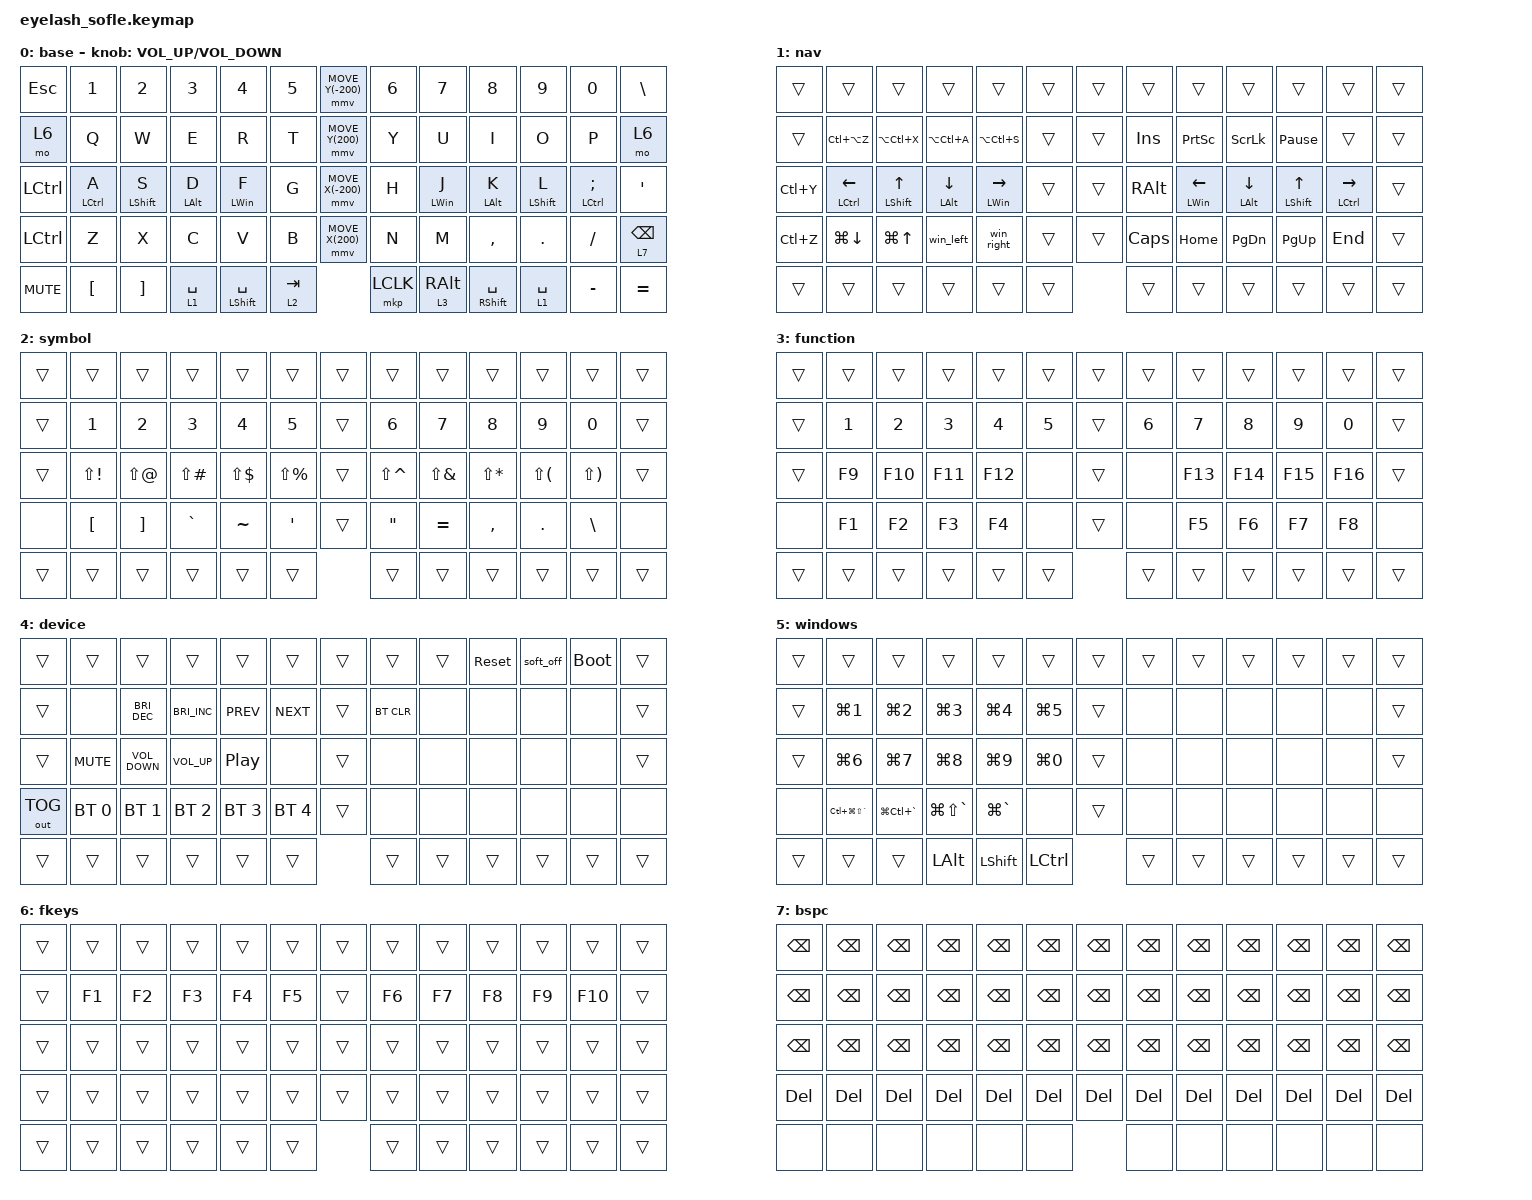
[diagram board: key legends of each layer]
#define ZMK_POINTING_DEFAULT_MOVE_VAL 1200  // 600
#define ZMK_POINTING_DEFAULT_SCRL_VAL 35    // 10

#include <input/processors.dtsi>
#include <zephyr/dt-bindings/input/input-event-codes.h>
#include <behaviors.dtsi>
#include <dt-bindings/zmk/bt.h>
#include <dt-bindings/zmk/keys.h>
#include <dt-bindings/zmk/outputs.h>
#include <dt-bindings/zmk/pointing.h>
#include <dt-bindings/zmk/rgb.h>

// ---------------------------------------------------------------------------
// eyelash sofle (64 keys) — cornix/totem layout ported.
//
// Matrix position map (binding order):
//   r0 (num):   0   1   2   3   4   5   [6]    7   8   9  10  11  12
//   r1 (qwer): 13  14  15  16  17  18  [19]   20  21  22  23  24  25
//   r2 (home): 26  27  28  29  30  31  [32]   33  34  35  36  37  38
//   r3 (bot):  39  40  41  42  43  44  [45]   46  47  48  49  50  51
//   r4 (thmb): 52  53  54  55  56  57  [58]   59  60  61  62  63
//   [6 19 32 45] = joystick axes, [58] = joystick click, 52 = encoder press.
//   Left outer col: 0 13 26 39 ; right outer col: 12 25 38 51.
// ---------------------------------------------------------------------------

/ {
    zip_scroll_scaler: zip_scroll_scaler {
        compatible = "zmk,input-processor-scaler";
        #input-processor-cells = <2>;
        type = <INPUT_EV_REL>;
        codes = <INPUT_REL_WHEEL INPUT_REL_HWHEEL>;
        track-remainders;
    };
};

&mmv_input_listener { input-processors = <&zip_xy_scaler 2 1>; };

&msc_input_listener { input-processors = <&zip_scroll_scaler 2 1>; };

&msc {
    time-to-max-speed-ms = <0>;       // 300
    delay-ms = <0>;                   // 0
    trigger-period-ms = <0>;
};

&mmv {
    time-to-max-speed-ms = <0>; // Default 500
    acceleration-exponent = <0>; // Default 0
    trigger-period-ms = <16>;
};

&soft_off { hold-time-ms = <2000>; };

/ {
    quick_tab: quick_tab {
        compatible = "zmk,behavior-hold-tap";
        label = "QUICK_TAB";
        bindings = <&kp>, <&kp>;

        #binding-cells = <2>;
        tapping-term-ms = <200>;
        flavor = "tap-preferred";
        quick-tap-ms = <250>;
    };

    quick_tab_retro: quick_tab_retro {
        compatible = "zmk,behavior-hold-tap";
        label = "QUICK_TAB_RETRO";
        bindings = <&kp>, <&kp>;

        #binding-cells = <2>;
        tapping-term-ms = <200>;
        flavor = "tap-preferred";
        quick-tap-ms = <150>;
        retro-tap;
    };

    layer_quick_tab: layer_quick_tab {
        compatible = "zmk,behavior-hold-tap";
        label = "LAYER_QUICK_TAB";
        bindings = <&mo>, <&kp>;

        #binding-cells = <2>;
        tapping-term-ms = <150>;
        flavor = "balanced";
        retro-tap;
    };

    space_shift_homerow: space_shift_homerow {
        compatible = "zmk,behavior-hold-tap";
        label = "SPACE_SHIFT_HOMEROW";
        bindings = <&kp>, <&kp>;

        #binding-cells = <2>;
        flavor = "tap-preferred";
        tapping-term-ms = <150>;
        retro-tap;
    };

    mouse_click_key: mouse_click_key {
        compatible = "zmk,behavior-hold-tap";
        label = "MOUSE_CLICK_KEY";
        bindings = <&mkp>, <&mkp>;

        #binding-cells = <2>;
        tapping-term-ms = <150>;
    };

    mouse_click_tab_dance: mouse_click_tab_dance {
        compatible = "zmk,behavior-tap-dance";
        label = "MOUSE_CLICK_TAB_DANCE";
        #binding-cells = <0>;
        bindings = <&mkp LCLK>, <&mouse_click_key RCLK LCLK>;
    };

    layer_hold_tap: layer_hold_tap {
        compatible = "zmk,behavior-hold-tap";
        label = "LAYER_HOLD_TAP";
        bindings = <&mo>, <&tog>;

        #binding-cells = <2>;
        tapping-term-ms = <200>;
    };

    // pos 12: tap = backspace; hold = momentary BSPCL layer.
    bspc_ht: bspc_ht {
        compatible = "zmk,behavior-hold-tap";
        label = "BSPC_HT";
        bindings = <&mo>, <&kp>;

        #binding-cells = <2>;
        flavor = "balanced";
        tapping-term-ms = <200>;
        retro-tap;
    };

    behaviors {
    };

    combos {
        compatible = "zmk,combos";

        backspace_combo {
            bindings = <&kp BACKSPACE>;
            key-positions = <34 35>;
            layers = <0 2 3>;
            timeout-ms = <38>;
        };

        enter_combo {
            bindings = <&kp ENTER>;
            key-positions = <34 36>;
            layers = <0 2 3>;
            timeout-ms = <38>;
        };

        backspace2_combo {
            bindings = <&kp BACKSPACE>;
            key-positions = <30 29>;
            layers = <0 3 2>;
            timeout-ms = <38>;
        };

        enter2_combo {
            bindings = <&kp ENTER>;
            key-positions = <30 28>;
            layers = <0 3 2>;
            timeout-ms = <38>;
        };

        esc_combo {
            bindings = <&kp ESC>;
            key-positions = <16 15>;
            layers = <0 3>;
            timeout-ms = <38>;
        };

        delete_combo {
            bindings = <&kp DEL>;
            key-positions = <47 48>;
            timeout-ms = <38>;
            layers = <0 2 3>;
        };

        delete_combo2 {
            bindings = <&kp DEL>;
            key-positions = <43 42>;
            timeout-ms = <38>;
            layers = <0 3 2>;
        };

        win_e_combo {
            bindings = <&kp LG(E)>;
            key-positions = <16 15>;
            layers = <1>;
        };

        win_r_combo {
            bindings = <&kp LG(R)>;
            key-positions = <17 16>;
            layers = <1>;
        };

        win_shift_t_combo {
            bindings = <&kp LG(LS(T))>;
            key-positions = <17 18>;
            layers = <1>;
        };

        win_shift_s_combo {
            bindings = <&kp LG(LS(S))>;
            key-positions = <27 28>;
            layers = <1>;
        };

        win_v_combo {
            bindings = <&kp LG(V)>;
            key-positions = <43 42>;
            layers = <1>;
        };

        device_layer_combo {
            bindings = <&mo 4>;
            key-positions = <59 60 61>;
        };

        switch_task_layer_combo {
            bindings = <&switch_tasks_layer>;
            key-positions = <59 61>;
        };

        softoff_combo {
            bindings = <&soft_off>;
            key-positions = <14 28 40 24 36 50>;
            timeout-ms = <100>;
        };
    };

    macros {
        win_left: win_left {
            compatible = "zmk,behavior-macro";
            label = "WIN_LEFT";
            #binding-cells = <0>;
            wait-ms = <0>;
            tap-ms = <0>;
            bindings =
                <&macro_press>,
                <&kp LGUI>,
                <&macro_tap>,
                <&kp LEFT>,
                <&macro_release>,
                <&kp LGUI>;
        };

        win_right: win_right {
            compatible = "zmk,behavior-macro";
            label = "WIN_RIGHT";
            #binding-cells = <0>;
            wait-ms = <0>;
            tap-ms = <0>;
            bindings =
                <&macro_press>,
                <&kp LGUI>,
                <&macro_tap>,
                <&kp RIGHT>,
                <&macro_release>,
                <&kp LGUI>;
        };

        switch_tasks_layer: switch_tasks_layer {
            compatible = "zmk,behavior-macro";
            #binding-cells = <0>;
            bindings =
                <&macro_press>,
                <&mo 5 &kp LEFT_GUI>,
                <&macro_pause_for_release>,
                <&macro_release>,
                <&mo 5 &kp LEFT_GUI>;

            label = "SWITCH_TASKS_LAYER";
        };
    };

    keymap {
        compatible = "zmk,keymap";

        BL {
            display-name = "base";
            bindings = <
&kp ESC     &kp N1              &kp N2                   &kp N3                 &kp N4                       &kp N5                  &mmv MOVE_Y(-200)  &kp N6                   &kp N7                      &kp N8                   &kp N9                  &kp N0                 &kp BSLH
&mo 6       &kp Q               &kp W                    &kp E                  &kp R                        &kp T                   &mmv MOVE_Y(200)   &kp Y                    &kp U                       &kp I                    &kp O                   &kp P                  &mo 6
&kp LCTRL   &quick_tab LCTRL A  &quick_tab LEFT_SHIFT S  &quick_tab LEFT_ALT D  &quick_tab_retro LEFT_WIN F  &kp G                   &mmv MOVE_X(-200)  &kp H                    &quick_tab_retro LEFT_WIN J &quick_tab LEFT_ALT K    &quick_tab LEFT_SHIFT L &quick_tab LCTRL SEMI  &kp APOS
&kp LCTRL   &kp Z               &kp X                    &kp C                  &kp V                        &kp B                   &mmv MOVE_X(200)   &kp N                    &kp M                       &kp COMMA                &kp DOT                 &kp SLASH              &bspc_ht 7 BSPC
&kp C_MUTE  &kp LBKT            &kp RBKT                 &layer_quick_tab 1 SPACE &space_shift_homerow LEFT_SHIFT SPACE &layer_quick_tab 2 TAB &mkp LCLK  &layer_quick_tab 3 RALT  &space_shift_homerow RIGHT_SHIFT SPACE &layer_quick_tab 1 SPACE &kp MINUS &kp EQUAL
            >;

            sensor-bindings = <&inc_dec_kp C_VOLUME_UP C_VOLUME_DOWN>;
        };

        NAV {
            display-name = "nav";
            bindings = <
&trans     &trans                 &trans                    &trans                    &trans                           &trans    &trans  &trans    &trans                          &trans                    &trans                  &trans   &trans
&trans     &kp LC(LA(Z))          &kp LA(LC(X))             &kp LA(LC(A))             &kp LA(LC(S))                    &trans    &trans  &kp INS   &kp PSCRN                       &kp SLCK                  &kp PAUSE_BREAK         &trans   &trans
&kp LC(Y)  &quick_tab LCTRL LEFT  &quick_tab LEFT_SHIFT UP  &quick_tab LEFT_ALT DOWN  &quick_tab_retro LEFT_WIN RIGHT  &trans    &trans  &kp RALT  &quick_tab_retro LEFT_WIN LEFT  &quick_tab LEFT_ALT DOWN  &quick_tab LEFT_SHIFT UP &quick_tab LCTRL RIGHT &trans
&kp LC(Z)  &kp LG(DOWN)           &kp LG(UP)                &win_left                 &win_right                       &trans    &trans  &kp CAPS  &kp HOME                        &kp PG_DN                 &kp PG_UP               &kp END  &trans
&trans     &trans                 &trans                    &trans                    &trans                           &trans    &trans  &trans    &trans                          &trans                    &trans                  &trans
            >;
        };

        LTL {
            display-name = "symbol";
            bindings = <
&trans  &trans        &trans      &trans         &trans        &trans         &trans  &trans         &trans        &trans        &trans        &trans        &trans
&trans  &kp N1        &kp N2      &kp N3         &kp N4        &kp N5         &trans  &kp N6         &kp N7        &kp N8        &kp N9        &kp N0        &trans
&trans  &kp LS(EXCL)  &kp LS(AT)  &kp LS(POUND)  &kp LS(DLLR)  &kp LS(PRCNT)  &trans  &kp LS(CARET)  &kp LS(AMPS)  &kp LS(STAR)  &kp LS(LPAR)  &kp LS(RPAR)  &trans
&none   &kp LBKT      &kp RBKT    &kp GRAVE      &kp TILDE     &kp APOS       &trans  &kp DQT        &kp EQUAL     &kp COMMA     &kp DOT       &kp BSLH      &none
&trans  &trans        &trans      &trans         &trans        &trans         &trans  &trans         &trans        &trans        &trans        &trans
            >;
        };

        RTL {
            display-name = "function";
            bindings = <
&trans  &trans  &trans   &trans   &trans   &trans    &trans  &trans  &trans   &trans   &trans   &trans   &trans
&trans  &kp N1  &kp N2   &kp N3   &kp N4   &kp N5    &trans  &kp N6  &kp N7   &kp N8   &kp N9   &kp N0   &trans
&trans  &kp F9  &kp F10  &kp F11  &kp F12  &none     &trans  &none   &kp F13  &kp F14  &kp F15  &kp F16  &trans
&none   &kp F1  &kp F2   &kp F3   &kp F4   &none     &trans  &none   &kp F5   &kp F6   &kp F7   &kp F8   &none
&trans  &trans  &trans   &trans   &trans   &trans    &trans  &trans  &trans   &trans   &trans   &trans
            >;
        };

        DEVL {
            display-name = "device";
            bindings = <
&trans        &trans        &trans                &trans                &trans            &trans        &trans  &trans      &trans  &sys_reset  &soft_off  &bootloader  &trans
&trans        &none         &kp C_BRIGHTNESS_DEC  &kp C_BRIGHTNESS_INC  &kp C_PREV        &kp C_NEXT    &trans  &bt BT_CLR  &none   &none       &none      &none        &trans
&trans        &kp C_MUTE    &kp C_VOLUME_DOWN     &kp C_VOLUME_UP       &kp C_PLAY_PAUSE  &none         &trans  &none       &none   &none       &none      &none        &trans
&out OUT_TOG  &bt BT_SEL 0  &bt BT_SEL 1          &bt BT_SEL 2          &bt BT_SEL 3      &bt BT_SEL 4  &trans  &none       &none   &none       &none      &none        &none
&trans        &trans        &trans                &trans                &trans            &trans        &trans  &trans      &trans  &trans      &trans     &trans
            >;
        };

        RCL {
            display-name = "windows";
            bindings = <
&trans  &trans                 &trans             &trans             &trans         &trans      &trans  &trans  &trans  &trans  &trans  &trans  &trans
&trans  &kp LG(N1)             &kp LG(N2)         &kp LG(N3)         &kp LG(N4)     &kp LG(N5)  &trans  &none   &none   &none   &none   &none   &trans
&trans  &kp LG(N6)             &kp LG(N7)         &kp LG(N8)         &kp LG(N9)     &kp LG(N0)  &trans  &none   &none   &none   &none   &none   &trans
&none   &kp LC(LG(LS(GRAVE)))  &kp LG(LC(GRAVE))  &kp LG(LS(GRAVE))  &kp LG(GRAVE)  &none       &trans  &none   &none   &none   &none   &none   &none
&trans  &trans                 &trans             &kp LEFT_ALT       &kp LSHIFT     &kp LCTRL   &trans  &trans  &trans  &trans  &trans  &trans
            >;
        };

        FKL {
            display-name = "fkeys";
            bindings = <
&trans  &trans  &trans  &trans  &trans  &trans    &trans  &trans  &trans  &trans  &trans  &trans   &trans
&trans  &kp F1  &kp F2  &kp F3  &kp F4  &kp F5    &trans  &kp F6  &kp F7  &kp F8  &kp F9  &kp F10  &trans
&trans  &trans  &trans  &trans  &trans  &trans    &trans  &trans  &trans  &trans  &trans  &trans   &trans
&trans  &trans  &trans  &trans  &trans  &trans    &trans  &trans  &trans  &trans  &trans  &trans   &trans
&trans  &trans  &trans  &trans  &trans  &trans    &trans  &trans  &trans  &trans  &trans  &trans
            >;
        };

        BSPCL {
            display-name = "bspc";
            bindings = <
&kp BSPC  &kp BSPC  &kp BSPC  &kp BSPC  &kp BSPC  &kp BSPC    &kp BSPC  &kp BSPC  &kp BSPC  &kp BSPC  &kp BSPC  &kp BSPC  &kp BSPC
&kp BSPC  &kp BSPC  &kp BSPC  &kp BSPC  &kp BSPC  &kp BSPC    &kp BSPC  &kp BSPC  &kp BSPC  &kp BSPC  &kp BSPC  &kp BSPC  &kp BSPC
&kp BSPC  &kp BSPC  &kp BSPC  &kp BSPC  &kp BSPC  &kp BSPC    &kp BSPC  &kp BSPC  &kp BSPC  &kp BSPC  &kp BSPC  &kp BSPC  &kp BSPC
&kp DEL   &kp DEL   &kp DEL   &kp DEL   &kp DEL   &kp DEL     &kp DEL   &kp DEL   &kp DEL   &kp DEL   &kp DEL   &kp DEL   &kp DEL
&none     &none     &none     &none     &none     &none       &none     &none     &none     &none     &none     &none
            >;
        };
    };
};
